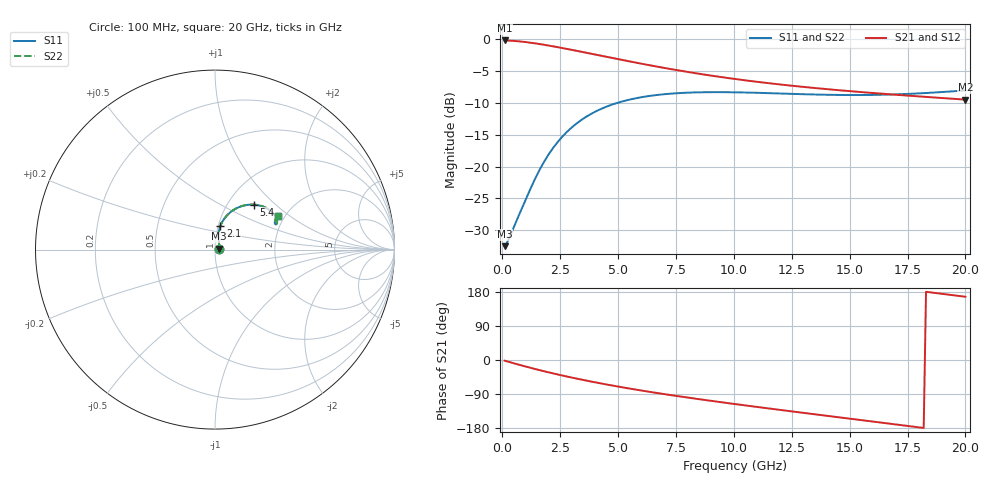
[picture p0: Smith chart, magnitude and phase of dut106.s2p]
! Touchstone file exported from HFSS 2024.1.0
!  File:  C:/UserFiles/LocalFiles/RDL_TSV_Batchsim/temp_RDL_TSV_106_1779421306.aedt
!  Generated:  11:55:13 AM May 22, 2026
!  Design:  RDL_TSV
!  Project:  temp_RDL_TSV_106_1779421306
!  Setup:  Setup1
!  Solution:  Sweep
! Variables:
!  dtsv = 10.83um
!  hbump = 3um
!  htsv = 69.75um
!  ldown = 191.07um
!  lrdl = 516.6um
!  p = 40
!  p1 = 53.45um
!  rhole = 10um
!  subl = 2639.61um
!  t = 450um
!  tdown = 4.49um
!  trdl = 2.7um
!  viad = 10um
!  wdown = 11.5um
!  wrdl = 13.93um
!  xbump = 18um
# GHz S MA R 50.000000
! Terminal data exported
! Port[1] = TM1_1_T1
! Port[2] = TM1_4_T1
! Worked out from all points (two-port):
!   200 points, 100 MHz to 20 GHz, reference 50 ohm
!   highest |S21| = -0.21 dB at 100 MHz (marker M1); lowest = -9.5 dB at 20 GHz (marker M2)
!   |S21| within 3 dB of the highest: start of sweep to 5.096 GHz
!   lowest |S11| = -32.5 dB at 100 MHz (marker M3), VSWR 1.05, Z = 52.4 + j0.515 ohm
!   |S11| at or under -10 dB: start of sweep to 4.971 GHz
!   |S22| runs from -32.5 to -8.0 dB; largest |S21 - S12| = 8e-15
!   S11 on the Smith chart (normalised r, x): 100 MHz: 1.05, +0.01; 2.1 GHz: 1.02, +0.27; 5.4 GHz: 1.32, +0.74; 20 GHz: 1.85, +0.81
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0.1  0.02375 11.9  0.9764 -1.8  0.9764 -1.8  0.02375 11.9
! Gamma 0 0 0 0
! Port Impedance 50 0 50 0
0.3  0.02748 32.3  0.9735 -5.3  0.9735 -5.3  0.02747 32.3
0.7  0.04086 57.0  0.9616 -12.2  0.9616 -12.2  0.04084 57.1
1.1  0.06001 70.8  0.9439 -18.7  0.9439 -18.7  0.06006 70.9
1.6  0.09353 77.6  0.916 -26.6  0.916 -26.6  0.09362 77.7
2.1  0.1326 77.3  0.8843 -34.0  0.8843 -34.0  0.1327 77.4
2.4  0.1566 75.6  0.8644 -38.3  0.8644 -38.3  0.1567 75.6
2.8  0.1878 72.3  0.8375 -43.7  0.8375 -43.7  0.1881 72.4
3.5  0.2379 65.8  0.7906 -52.7  0.7906 -52.7  0.2383 65.8
4.4  0.2904 57.3  0.7328 -63.5  0.7328 -63.5  0.2908 57.3
5.4  0.3322 48.9  0.674 -74.4  0.674 -74.4  0.3327 48.9
6.1  0.3525 43.8  0.6369 -81.5  0.6369 -81.5  0.3531 43.8
6.8  0.3668 39.4  0.6032 -88.2  0.6032 -88.2  0.3673 39.4
7.6  0.377 35.1  0.5687 -95.6  0.5687 -95.6  0.3776 35.1
8.4  0.3823 31.5  0.5383 -102.6  0.5383 -102.6  0.3829 31.5
10.1  0.3827 26.1  0.4853 -116.7  0.4853 -116.7  0.3833 26.1
11.7  0.376 23.3  0.447 -129.4  0.447 -129.4  0.3767 23.4
13.4  0.368 22.5  0.4151 -142.5  0.4151 -142.5  0.3687 22.5
15  0.3642 23.2  0.3909 -154.8  0.3909 -154.8  0.3649 23.3
16.7  0.3673 24.9  0.3695 -167.8  0.3695 -167.8  0.368 24.9
18.3  0.3779 26.6  0.3521 179.9  0.3521 179.9  0.3786 26.6
20  0.3959 27.8  0.3354 166.9  0.3354 166.9  0.3967 27.9
